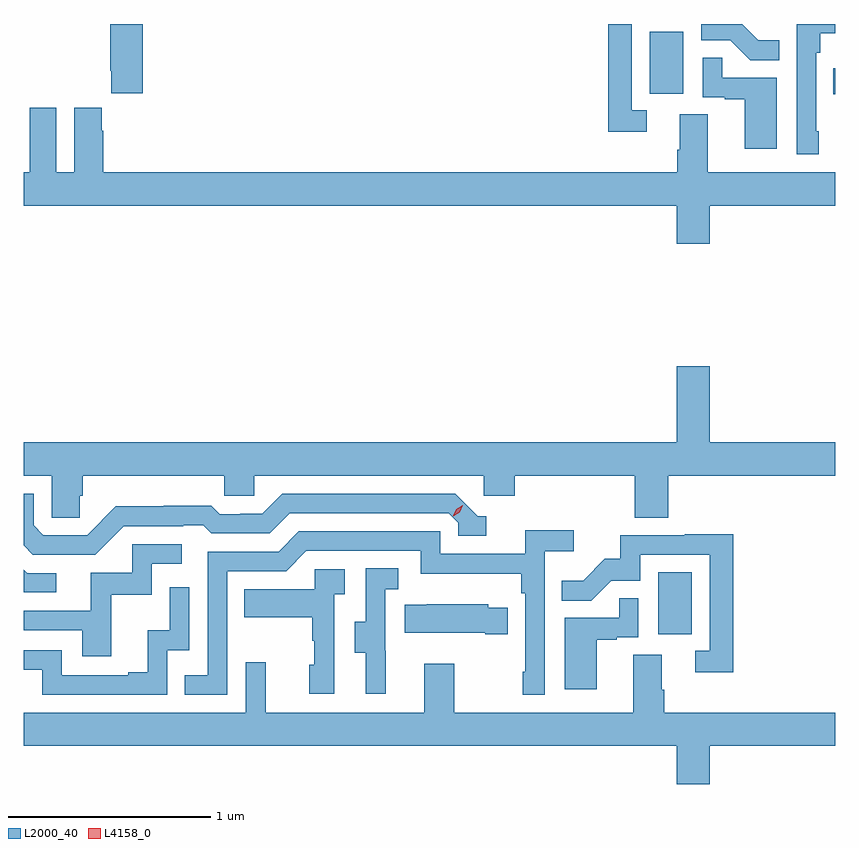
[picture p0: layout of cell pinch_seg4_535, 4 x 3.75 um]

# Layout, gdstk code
import gdstk
lib = gdstk.Library(unit=1e-6, precision=1e-09)
def R(c, l, rs):  # rectangles x0, y0, x1, y1
    for r in rs: c.add(gdstk.rectangle(r[:2], r[2:], *l))
def P(c, l, *ps):  # polygons
    for p in ps: c.add(gdstk.Polygon(p, *l))
L2000_40 = (2000, 40)
L4158_0 = (4158, 0)

pinch_seg4_535 = lib.new_cell('pinch_seg4_535')
R(pinch_seg4_535, L2000_40, [(1141.94,782.718,1142.104,783.025), (1142.803,785.38,1142.812,785.509), (1141.898,785.382,1142.062,785.689)])
P(pinch_seg4_535, L2000_40, [(1142.537,785.647),(1142.433,785.647),(1142.353,785.727),(1142.151,785.727),(1142.151,785.646),(1142.295,785.646),(1142.393,785.548),(1142.537,785.548)],
  [(1141.882,785.301),(1141.809,785.301),(1141.809,785.727),(1141.693,785.727),(1141.693,785.196),(1141.882,785.196)],
  [(1139.399,785.727),(1139.239,785.727),(1139.239,785.497),(1139.243,785.497),(1139.243,785.385),(1139.399,785.385)],
  [(1142.731,785.197),(1142.718,785.197),(1142.718,785.585),(1142.738,785.585),(1142.738,785.681),(1142.812,785.681),(1142.812,785.727),(1142.622,785.727),(1142.622,785.085),(1142.731,785.085)],
  [(1142.524,785.463),(1142.255,785.463),(1142.255,785.561),(1142.16,785.561),(1142.16,785.367),(1142.267,785.367),(1142.267,785.355),(1142.366,785.355),(1142.366,785.112),(1142.524,785.112)],
  [(1142.194,784.832),(1142.812,784.832),(1142.812,784.996),(1142.185,784.996),(1142.185,785.282),(1142.045,785.282),(1142.045,785.108),(1142.033,785.108),(1142.033,784.996),(1139.204,784.996),(1139.204,785.201),(1139.197,785.201),(1139.197,785.314),(1139.06,785.314),(1139.06,784.996),(1138.972,784.996),(1138.972,785.314),(1138.841,785.314),(1138.841,784.996),(1138.812,784.996),(1138.812,784.832),(1142.03,784.832),(1142.03,784.644),(1142.194,784.644)],
  [(1139.087,783.402),(1139.102,783.402),(1139.102,783.5),(1139.799,783.5),(1139.799,783.402),(1139.949,783.402),(1139.949,783.5),(1141.08,783.5),(1141.08,783.402),(1141.232,783.402),(1141.232,783.5),(1141.823,783.5),(1141.823,783.292),(1141.988,783.292),(1141.988,783.5),(1142.812,783.5),(1142.812,783.664),(1142.194,783.664),(1142.194,784.039),(1142.03,784.039),(1142.03,783.664),(1138.812,783.664),(1138.812,783.5),(1138.95,783.5),(1138.95,783.292),(1139.087,783.292)],
  [(1139.304,783.252),(1139.597,783.252),(1139.597,783.255),(1139.696,783.255),(1139.735,783.216),(1140.024,783.216),(1140.123,783.315),(1140.906,783.315),(1140.954,783.267),(1140.954,783.204),(1141.093,783.204),(1141.093,783.3),(1141.05,783.3),(1140.939,783.411),(1140.086,783.411),(1139.987,783.312),(1139.88,783.312),(1139.88,783.309),(1139.777,783.309),(1139.735,783.352),(1139.502,783.352),(1139.502,783.349),(1139.266,783.349),(1139.124,783.207),(1138.908,783.207),(1138.86,783.255),(1138.86,783.411),(1138.812,783.411),(1138.812,783.156),(1138.857,783.111),(1139.163,783.111)],
  [(1139.814,783.03),(1140.105,783.03),(1140.204,783.129),(1140.768,783.129),(1140.768,783.017),(1141.264,783.017),(1141.264,782.921),(1141.284,782.921),(1141.284,782.533),(1141.272,782.533),(1141.272,782.421),(1141.38,782.421),(1141.38,783.128),(1141.522,783.128),(1141.522,783.23),(1141.283,783.23),(1141.283,783.114),(1140.864,783.114),(1140.864,783.225),(1140.167,783.225),(1140.068,783.126),(1139.718,783.126),(1139.718,782.517),(1139.605,782.517),(1139.605,782.421),(1139.814,782.421)],
  [(1142.309,783.212),(1142.071,783.212),(1142.071,783.207),(1141.753,783.207),(1141.753,783.09),(1141.676,783.09),(1141.569,782.983),(1141.465,782.983),(1141.465,782.884),(1141.609,782.884),(1141.707,782.982),(1141.851,782.982),(1141.851,783.111),(1142.193,783.111),(1142.193,782.637),(1142.121,782.637),(1142.121,782.532),(1142.309,782.532)],
  [(1139.243,782.913),(1139.442,782.913),(1139.442,783.066),(1139.59,783.066),(1139.59,783.162),(1139.346,783.162),(1139.346,783.021),(1139.141,783.021),(1139.141,782.835),(1138.812,782.835),(1138.812,782.739),(1139.099,782.739),(1139.099,782.61),(1139.243,782.61)],
  [(1140.596,782.637),(1140.594,782.637),(1140.594,782.941),(1140.658,782.941),(1140.658,783.044),(1140.498,783.044),(1140.498,782.781),(1140.443,782.781),(1140.443,782.626),(1140.497,782.626),(1140.497,782.424),(1140.596,782.424)],
  [(1140.342,782.915),(1140.394,782.915),(1140.394,783.039),(1140.246,783.039),(1140.246,782.941),(1139.899,782.941),(1139.899,782.801),(1140.234,782.801),(1140.234,782.687),(1140.244,782.687),(1140.244,782.568),(1140.218,782.568),(1140.218,782.424),(1140.342,782.424)],
  [(1138.972,783.018),(1138.83,783.018),(1138.812,783.036),(1138.812,782.925),(1138.972,782.925)],
  [(1139.52,782.64),(1139.628,782.64),(1139.628,782.95),(1139.532,782.95),(1139.532,782.738),(1139.423,782.738),(1139.423,782.53),(1139.327,782.53),(1139.327,782.517),(1138.998,782.517),(1138.998,782.64),(1138.812,782.64),(1138.812,782.544),(1138.902,782.544),(1138.902,782.421),(1139.52,782.421)],
  [(1141.636,782.691),(1141.736,782.691),(1141.736,782.703),(1141.842,782.703),(1141.842,782.897),(1141.747,782.897),(1141.747,782.799),(1141.478,782.799),(1141.478,782.448),(1141.636,782.448)],
  [(1141.199,782.848),(1141.101,782.848),(1141.101,782.866),(1140.799,782.866),(1140.799,782.863),(1140.691,782.863),(1140.691,782.726),(1141.088,782.726),(1141.088,782.719),(1141.199,782.719)],
  [(1142.194,782.168),(1142.812,782.168),(1142.812,782.332),(1141.97,782.332),(1141.97,782.444),(1141.957,782.444),(1141.957,782.618),(1141.817,782.618),(1141.817,782.332),(1140.933,782.332),(1140.933,782.572),(1140.785,782.572),(1140.785,782.332),(1140.005,782.332),(1140.005,782.581),(1139.907,782.581),(1139.907,782.332),(1138.812,782.332),(1138.812,782.168),(1142.03,782.168),(1142.03,781.98),(1142.194,781.98)])
P(pinch_seg4_535, L4158_0, [(1140.93,783.301),(1140.93,783.302),(1140.945,783.334),(1140.976,783.354),(1140.976,783.354),(1140.976,783.354),(1140.96,783.321),(1140.93,783.301)])

lib.write_gds('pinch_seg4_535.gds')
